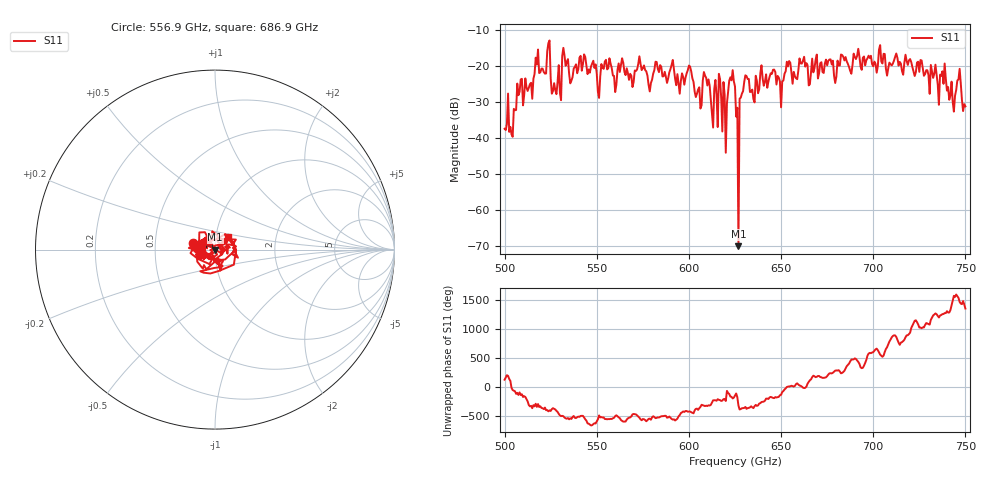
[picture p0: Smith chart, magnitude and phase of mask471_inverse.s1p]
!Created with skrf (http://scikit-rf.org).
# GHz S MA R 50.0
!freq magS11 angS11
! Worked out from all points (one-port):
!   401 points, 500 GHz to 750 GHz, reference 50 ohm
!   lowest |S11| = -70.1 dB at 626.9 GHz (marker M1), VSWR 1.00, Z = 50 + j0.0191 ohm
!   |S11| at or under -10 dB: start of sweep to end of sweep
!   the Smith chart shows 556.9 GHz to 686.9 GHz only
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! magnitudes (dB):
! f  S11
! 500 GHz  -37.4
! 517.5 GHz  -19.5
! 523.8 GHz  -13.5
! 526.9 GHz  -24.7
! 531.2 GHz  -17.1
! 562.5 GHz  -21.6
! 578.8 GHz  -27.0
! 590.6 GHz  -19.6
! 593.8 GHz  -22.2
! 600 GHz  -19.8
! 605.6 GHz  -25.9
! 609.4 GHz  -23.2
! 619.4 GHz  -27.9
! 622.5 GHz  -23.0
! 625 GHz  -25.6
! 625.6 GHz  -34.0
! 626.9 GHz  -70.1
! 628.1 GHz  -28.7
! 628.8 GHz  -27.6
! 631.2 GHz  -22.7
! 634.4 GHz  -26.5
! 656.2 GHz  -24.9
! 687.5 GHz  -21.3
! 718.8 GHz  -19.6
! 738.1 GHz  -24.9
! 742.5 GHz  -24.3
! 746.2 GHz  -23.6
! 750 GHz  -31.1
